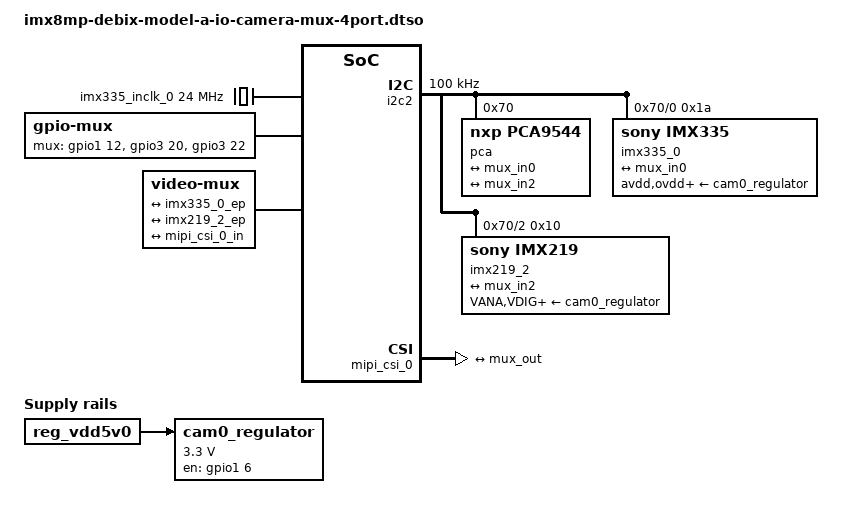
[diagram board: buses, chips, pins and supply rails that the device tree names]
// SPDX-License-Identifier: GPL-2.0-only

// Overlay to configure a 4 port camera multiplexer
//
// Configuration is based on the Arducam 4 channel multiplexer
// which uses a PCA9543 I2C multiplexer to handle the
// I2C, and GPIOs 4, 17, and 18 to control the MIPI muxes.

/dts-v1/;
/plugin/;

#include <dt-bindings/clock/imx8mp-clock.h>
#include <dt-bindings/gpio/gpio.h>
#include "imx8mp-pinfunc.h"

&{/} {
	/* 24 MHz Crystal on the imx335 camera module */
	imx335_inclk_0: imx335_inclk_24m {
		compatible = "fixed-clock";
		#clock-cells = <0>;
		status = "okay";
		clock-frequency = <24000000>;
	};

	cam0_regulator: regulator-vdd3v3 {
		compatible = "regulator-fixed";
		pinctrl-names = "default";
		pinctrl-0 = <&pinctrl_csi0_pwdn>;
		regulator-min-microvolt = <3300000>;
		regulator-max-microvolt = <3300000>;
		regulator-name = "CSI0_POWER_EN";
		gpio = <&gpio1 6 GPIO_ACTIVE_HIGH>;
		vin-supply = <&reg_vdd5v0>;
		startup-delay-us = <300000>;
		enable-active-high;
	};

	mux: mux-controller {
		compatible = "gpio-mux";
		#mux-control-cells = <0>;

		pinctrl-names = "default";
		pinctrl-0 = <&pinctrl_gpio_mux>;

		/* SEL, En2, En1 */
		mux-gpios = <&gpio1 12 GPIO_ACTIVE_HIGH>,
			    <&gpio3 20 GPIO_ACTIVE_HIGH>,
			    <&gpio3 22 GPIO_ACTIVE_HIGH>;
	};

	video-mux {
		compatible = "video-mux";
		mux-controls = <&mux>;
		#address-cells = <1>;
		#size-cells = <0>;

		/*
		 * GPIO mappings settings for selecting the different
		 * camera connectors are not direct, hence port@ values
		 * are not straight forward.
		 */
		port@2 {
			/* Port A - En1 = 0, En2 = 1, SEL = 0 */
			reg = <2>;

			mux_in0: endpoint {
				remote-endpoint = <&imx335_0_ep>;
				clock-noncontinuous;
				clock-lanes = <0>;
				data-lanes = <1 2>;
			};
		};

		port@3 {
			/* Port B - En1 = 0, En2 = 1, SEL = 1 */
			reg = <3>;
		};

		port@4 {
			/* Port C - En1 = 1, En2 = 0, SEL = 0 */
			reg = <4>;

			mux_in2: endpoint {
				remote-endpoint = <&imx219_2_ep>;
				clock-noncontinuous;
				clock-lanes = <0>;
				data-lanes = <1 2>;
			};
		};

		port@5 {
			/* Port D - En1 = 1, En2 = 0, SEL = 1 */
			reg = <5>;
		};

		port@6 {
			/* Output port needs to be the highest port number */
			reg = <6>;

			mux_out: endpoint {
				remote-endpoint = <&mipi_csi_0_in>;
				clock-noncontinuous;
				clock-lanes = <0>;
				data-lanes = <1 2>;
			};
		};
	};
};

&i2c2 {
	clock-frequency = <100000>;
	pinctrl-names = "default";
	pinctrl-0 = <&pinctrl_i2c2>;
	status = "okay";

	pca@70 {
		reg = <0x70>;
		compatible = "nxp,pca9544";

		#address-cells = <1>;
		#size-cells = <0>;

		i2c@0 {
			reg = <0>;
			#address-cells = <1>;
			#size-cells = <0>;

			imx335_0: imx335@1a {
				compatible = "sony,imx335";
				reg = <0x1a>;

				clocks = <&imx335_inclk_0>;
				clock-names = "xclk";

				rotation = <2>;
				orientation = <2>;

				status = "okay";

				/* Arducam IMX335 module uses *only* the 3v3 line */
				avdd-supply = <&cam0_regulator>;
				ovdd-supply = <&cam0_regulator>;
				dvdd-supply = <&cam0_regulator>;

				port {
					imx335_0_ep: endpoint {
						remote-endpoint = <&mux_in0>;
						clock-lanes = <0>;
						/*
						 * imx335 supports 4 lanes but
						 * model A I/O (and the mux)
						 * only supports 2 lanes
						 */
						data-lanes = <1 2>;
						link-frequencies = /bits/ 64 <594000000>;
					};
				};
			};
		};

		i2c@2 {
			reg = <2>;
			#address-cells = <1>;
			#size-cells = <0>;

			imx219_2: imx219@10 {
				compatible = "sony,imx219";
				reg = <0x10>;

				clocks = <&clk IMX8MP_CLK_IPP_DO_CLKO2>;
				clock-names = "xclk";
				assigned-clocks = <&clk IMX8MP_CLK_IPP_DO_CLKO2>;
				assigned-clock-parents = <&clk IMX8MP_CLK_24M>;
				assigned-clock-rates = <24000000>;

				VANA-supply = <&cam0_regulator>;
				VDIG-supply = <&cam0_regulator>;
				VDDL-supply = <&cam0_regulator>;

				rotation = <0>;
				orientation = <2>; /* External camera */

				port {
					imx219_2_ep: endpoint {
						remote-endpoint = <&mux_in2>;
						data-lanes = <1 2>;
						clock-noncontinuous;
						link-frequencies = /bits/ 64 <456000000>;
					};
				};
			};
		};
	};
};

&i2c6 {
	status = "disabled";
};

&iomuxc {
	pinctrl_csi0_pwdn: csi0_rst_grp {
		fsl,pins = <
			MX8MP_IOMUXC_GPIO1_IO06__GPIO1_IO06	0x19
		>;
	};

	pinctrl_i2c2: i2c2grp {
		fsl,pins = <
			MX8MP_IOMUXC_I2C2_SCL__I2C2_SCL		0x400001c2
			MX8MP_IOMUXC_I2C2_SDA__I2C2_SDA		0x400001c2
		>;
	};

	pinctrl_gpio_mux: gpio_mux_grp {
		fsl,pins = <
			MX8MP_IOMUXC_GPIO1_IO12__GPIO1_IO12	0x19
			/* MX8MP_IOMUXC_SAI5_RXC__I2C6_SDA */
			MX8MP_IOMUXC_SAI5_RXC__GPIO3_IO20	0x19
			/* MX8MP_IOMUXC_SAI5_RXD1__CAN1_TX */
			MX8MP_IOMUXC_SAI5_RXD1__GPIO3_IO22	0x19
		>;
	};
};

&mipi_csi_0 {
	status = "okay";

	ports {
		port@0 {
			mipi_csi_0_in: endpoint {
				remote-endpoint = <&mux_out>;
				clock-lanes = <0>;
				data-lanes = <1 2>;
			};
		};
	};
};
